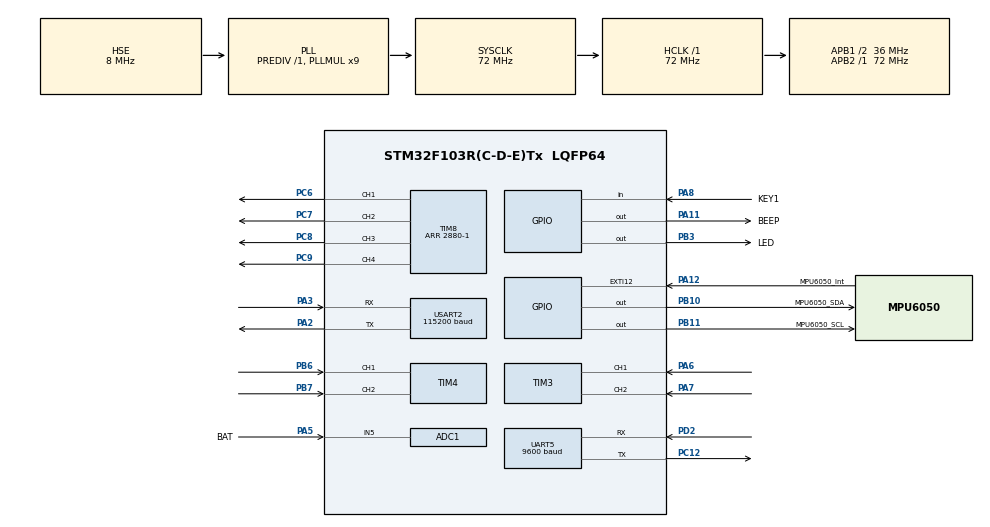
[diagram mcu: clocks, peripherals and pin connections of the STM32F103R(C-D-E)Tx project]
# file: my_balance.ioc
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ADC1.Channel-0\#ChannelRegularConversion=ADC_CHANNEL_5
ADC1.NbrOfConversionFlag=1
ADC1.Rank-0\#ChannelRegularConversion=1
ADC1.SamplingTime-0\#ChannelRegularConversion=ADC_SAMPLETIME_239CYCLES_5
ADC1.master=1
Mcu.Family=STM32F1
Mcu.Name=STM32F103R(C-D-E)Tx
Mcu.Package=LQFP64
NVIC.EXTI15_10_IRQn=true\:2\:1\:true\:false\:true\:true\:true\:true
NVIC.PriorityGroup=NVIC_PRIORITYGROUP_2
NVIC.TIM6_IRQn=true\:3\:2\:true\:false\:true\:true\:true\:true
NVIC.UART5_IRQn=true\:0\:0\:false\:false\:true\:true\:true\:true
NVIC.USART2_IRQn=true\:1\:1\:true\:false\:true\:true\:true\:true
PA11.GPIO_Label=BEEP
PA11.Signal=GPIO_Output
PA12.GPIO_Label=MPU6050_Int
PA12.GPIO_PuPd=GPIO_PULLUP
PA12.Signal=GPXTI12
PA13.Mode=Serial_Wire
PA13.Signal=SYS_JTMS-SWDIO
PA14.Mode=Serial_Wire
PA14.Signal=SYS_JTCK-SWCLK
PA2.Mode=Asynchronous
PA2.Signal=USART2_TX
PA3.Mode=Asynchronous
PA3.Signal=USART2_RX
PA5.GPIO_Label=BAT
PA5.Signal=ADCx_IN5
PA6.Signal=S_TIM3_CH1
PA7.Signal=S_TIM3_CH2
PA8.GPIO_Label=KEY1
PA8.Signal=GPIO_Input
PB10.GPIO_Label=MPU6050_SDA
PB10.GPIO_Speed=GPIO_SPEED_FREQ_HIGH
PB10.Signal=GPIO_Output
PB11.GPIO_Label=MPU6050_SCL 
PB11.GPIO_Speed=GPIO_SPEED_FREQ_HIGH
PB11.Signal=GPIO_Output
PB3.GPIO_Label=LED
PB3.Signal=GPIO_Output
PB6.Signal=S_TIM4_CH1
PB7.Signal=S_TIM4_CH2
PC12.Mode=Asynchronous
PC12.Signal=UART5_TX
PC6.Signal=S_TIM8_CH1
PC7.Signal=S_TIM8_CH2
PC8.Signal=S_TIM8_CH3
PC9.Signal=S_TIM8_CH4
PD0-OSC_IN.Mode=HSE-External-Oscillator
PD0-OSC_IN.Signal=RCC_OSC_IN
PD1-OSC_OUT.Mode=HSE-External-Oscillator
PD1-OSC_OUT.Signal=RCC_OSC_OUT
PD2.Mode=Asynchronous
PD2.Signal=UART5_RX
ProjectManager.HeapSize=0x200
ProjectManager.StackSize=0x400
ProjectManager.TargetToolchain=MDK-ARM V5.32
RCC.ADCPresc=RCC_ADCPCLK2_DIV6
RCC.AHBFreq_Value=72000000
RCC.APB1CLKDivider=RCC_HCLK_DIV2
RCC.APB1Freq_Value=36000000
RCC.APB1TimFreq_Value=72000000
RCC.APB2Freq_Value=72000000
RCC.APB2TimFreq_Value=72000000
RCC.HCLKFreq_Value=72000000
RCC.PLLMUL=RCC_PLL_MUL9
RCC.PLLSourceVirtual=RCC_PLLSOURCE_HSE
RCC.SYSCLKFreq_VALUE=72000000
RCC.SYSCLKSource=RCC_SYSCLKSOURCE_PLLCLK
RCC.USBFreq_Value=72000000
SH.ADCx_IN5.0=ADC1_IN5,IN5
SH.S_TIM3_CH1.0=TIM3_CH1,Encoder_Interface
SH.S_TIM3_CH2.0=TIM3_CH2,Encoder_Interface
SH.S_TIM4_CH1.0=TIM4_CH1,Encoder_Interface
SH.S_TIM4_CH2.0=TIM4_CH2,Encoder_Interface
SH.S_TIM8_CH1.0=TIM8_CH1,PWM Generation1 CH1
SH.S_TIM8_CH2.0=TIM8_CH2,PWM Generation2 CH2
SH.S_TIM8_CH3.0=TIM8_CH3,PWM Generation3 CH3
SH.S_TIM8_CH4.0=TIM8_CH4,PWM Generation4 CH4
TIM3.EncoderMode=TIM_ENCODERMODE_TI12
TIM4.EncoderMode=TIM_ENCODERMODE_TI12
TIM6.Period=99
TIM6.Prescaler=7200-1
TIM8.AutoReloadPreload=TIM_AUTORELOAD_PRELOAD_ENABLE
TIM8.Channel-PWM\ Generation1\ CH1=TIM_CHANNEL_1
TIM8.Channel-PWM\ Generation2\ CH2=TIM_CHANNEL_2
TIM8.Channel-PWM\ Generation3\ CH3=TIM_CHANNEL_3
TIM8.Channel-PWM\ Generation4\ CH4=TIM_CHANNEL_4
TIM8.Period=2880-1
UART5.BaudRate=9600
UART5.VirtualMode=Asynchronous
USART2.BaudRate=115200
USART2.VirtualMode=VM_ASYNC
VP_TIM6_VS_ClockSourceINT.Mode=Enable_Timer
board=custom

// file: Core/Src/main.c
/* USER CODE BEGIN Header */
/**
  ******************************************************************************
  * @file           : main.c
  * @brief          : Main program body
  ******************************************************************************
  * @attention
  *
  * Copyright (c) 2026 STMicroelectronics.
  * All rights reserved.
  *
  * This software is licensed under terms that can be found in the LICENSE file
  * in the root directory of this software component.
  * If no LICENSE file comes with this software, it is provided AS-IS.
  *
  ******************************************************************************
  */
/* USER CODE END Header */
#include "main.h"
#include "adc.h"
#include "tim.h"
#include "usart.h"
#include "gpio.h"

/* USER CODE BEGIN Includes */
#include "AllHeader.h"
#include "intsever.h"
/* USER CODE END Includes */

void SystemClock_Config(void);

/* USER CODE BEGIN 0 */
uint8_t GET_Angle_Way = 2;
float Angle_Balance, Gyro_Balance, Gyro_Turn;
int Motor_Left, Motor_Right;
int Temperature;
float Acceleration_Z;
int Mid_Angle;
float Move_X, Move_Z;
u8 Stop_Flag = 1;

char showbuf[32] = {'\0'};

/* USER CODE END 0 */

int main(void)
{

  /* MCU Configuration--------------------------------------------------------*/

  /* Reset of all peripherals, Initializes the Flash interface and the Systick. */
  HAL_Init();

  /* Configure the system clock */
  SystemClock_Config();

  /* Initialize all configured peripherals */
  MX_GPIO_Init();
  MX_ADC1_Init();
  MX_TIM3_Init();
  MX_TIM4_Init();
  MX_TIM6_Init();
  MX_TIM8_Init();
  MX_UART5_Init();
  MX_USART2_UART_Init();
  /* USER CODE BEGIN 2 */
  bsp_init();
  MPU6050_setFullScaleGyroRange(MPU6050_GYRO_FS_250);
  Mode_select_v2();
  bsp_mode_init();
  MPU6050_EXTI_Init();

  OLED_Draw_Line("put down key start!", 2, false, true);
  while (!Key1_State(1) && Stop_Flag == 1) {
  }
  Stop_Flag = 0;
  OLED_Draw_Line("start control!        ", 2, false, true);

  /* USER CODE END 2 */

  /* Infinite loop */
  while (1)
  {

    /* USER CODE BEGIN 3 */
    app_user();
  }
  /* USER CODE END 3 */
}

void SystemClock_Config(void)
{
  RCC_OscInitTypeDef RCC_OscInitStruct = {0};
  RCC_ClkInitTypeDef RCC_ClkInitStruct = {0};
  RCC_PeriphCLKInitTypeDef PeriphClkInit = {0};

  /** Initializes the RCC Oscillators according to the specified parameters
  * in the RCC_OscInitTypeDef structure.
  */
  RCC_OscInitStruct.OscillatorType = RCC_OSCILLATORTYPE_HSE;
  RCC_OscInitStruct.HSEState = RCC_HSE_ON;
  RCC_OscInitStruct.HSEPredivValue = RCC_HSE_PREDIV_DIV1;
  RCC_OscInitStruct.HSIState = RCC_HSI_ON;
  RCC_OscInitStruct.PLL.PLLState = RCC_PLL_ON;
  RCC_OscInitStruct.PLL.PLLSource = RCC_PLLSOURCE_HSE;
  RCC_OscInitStruct.PLL.PLLMUL = RCC_PLL_MUL9;
  if (HAL_RCC_OscConfig(&RCC_OscInitStruct) != HAL_OK)
  {
    Error_Handler();
  }

  /** Initializes the CPU, AHB and APB buses clocks
  */
  RCC_ClkInitStruct.ClockType = RCC_CLOCKTYPE_HCLK|RCC_CLOCKTYPE_SYSCLK
                              |RCC_CLOCKTYPE_PCLK1|RCC_CLOCKTYPE_PCLK2;
  RCC_ClkInitStruct.SYSCLKSource = RCC_SYSCLKSOURCE_PLLCLK;
  RCC_ClkInitStruct.AHBCLKDivider = RCC_SYSCLK_DIV1;
  RCC_ClkInitStruct.APB1CLKDivider = RCC_HCLK_DIV2;
  RCC_ClkInitStruct.APB2CLKDivider = RCC_HCLK_DIV1;

  if (HAL_RCC_ClockConfig(&RCC_ClkInitStruct, FLASH_LATENCY_2) != HAL_OK)
  {
    Error_Handler();
  }
  PeriphClkInit.PeriphClockSelection = RCC_PERIPHCLK_ADC;
  PeriphClkInit.AdcClockSelection = RCC_ADCPCLK2_DIV6;
  if (HAL_RCCEx_PeriphCLKConfig(&PeriphClkInit) != HAL_OK)
  {
    Error_Handler();
  }
}

void Error_Handler(void)
{
  __disable_irq();
  while (1)
  {
  }
}
